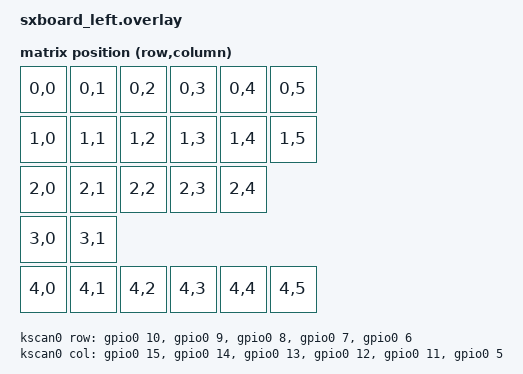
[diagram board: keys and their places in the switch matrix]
/*
 * 键盘矩阵配置 - 5行6列，第3行5键，第4行2键
 */

#include <dt-bindings/zmk/matrix_transform.h>

/ {
    chosen {
        zmk,kscan = &kscan0;
        zmk,matrix_transform = &default_transform;
    };

    default_transform: keymap_transform_0 {
        compatible = "zmk,matrix-transform";
        rows = <5>;
        columns = <6>;
        
        // 矩阵映射 - 第3行(索引2)只有5键，第4行(索引3)只有2键
        map = <
            RC(0,0) RC(0,1) RC(0,2) RC(0,3) RC(0,4) RC(0,5)
            RC(1,0) RC(1,1) RC(1,2) RC(1,3) RC(1,4) RC(1,5)
            RC(2,0) RC(2,1) RC(2,2) RC(2,3) RC(2,4)
            RC(3,0) RC(3,1)
            RC(4,0) RC(4,1) RC(4,2) RC(4,3) RC(4,4) RC(4,5)
        >;
    };

    kscan0: kscan {
        compatible = "zmk,kscan-gpio-matrix";
        label = "KSCAN";
        
        diode-direction = "col2row";
        
        // 行 GPIO 配置 (5行)
        row-gpios
            = <&gpio0 10 (GPIO_ACTIVE_HIGH | GPIO_PULL_DOWN)>
            , <&gpio0 9  (GPIO_ACTIVE_HIGH | GPIO_PULL_DOWN)>
            , <&gpio0 8  (GPIO_ACTIVE_HIGH | GPIO_PULL_DOWN)>
            , <&gpio0 7  (GPIO_ACTIVE_HIGH | GPIO_PULL_DOWN)>
            , <&gpio0 6  (GPIO_ACTIVE_HIGH | GPIO_PULL_DOWN)>
            ;
        
        // 列 GPIO 配置 (6列)
        col-gpios
            = <&gpio0 15 GPIO_ACTIVE_HIGH>
            , <&gpio0 14 GPIO_ACTIVE_HIGH>
            , <&gpio0 13 GPIO_ACTIVE_HIGH>
            , <&gpio0 12 GPIO_ACTIVE_HIGH>
            , <&gpio0 11 GPIO_ACTIVE_HIGH>
            , <&gpio0 5  GPIO_ACTIVE_HIGH>
            ;
    };
};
